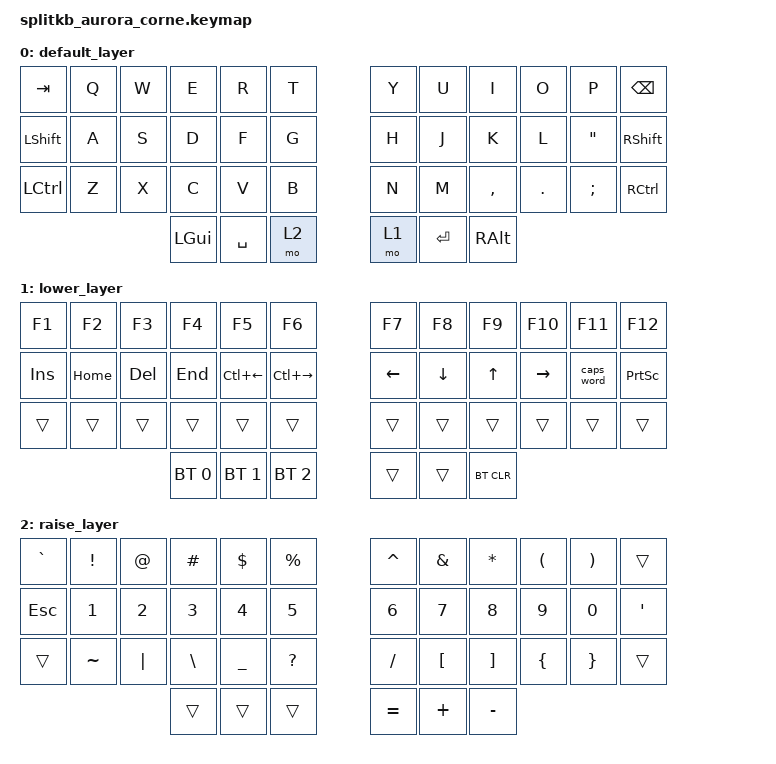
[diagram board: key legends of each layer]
#include <behaviors.dtsi>
#include <dt-bindings/zmk/keys.h>
#include <dt-bindings/zmk/bt.h>

/ {
    keymap {
        compatible = "zmk,keymap";
        default_layer {
			bindings = <
				// ┌─────────┬─────────┬─────────┬─────────┬─────────┬─────────┐    ┌─────────┬─────────┬─────────┬─────────┬─────────┬──────────┐
				// │   TAB   │    Q    │    W    │    E    │    R    │    T    │    │    Y    │    U    │    I    │    O    │    P    │   BSPC   │
    				&kp TAB   &kp Q     &kp W      &kp E     &kp R     &kp T         &kp Y     &kp U     &kp I     &kp O     &kp P    &kp BSPC
				// ├─────────┴─────────┴─────────┴─────────┴─────────┴─────────┤    ├─────────┴─────────┴─────────┴─────────┴─────────┴──────────┤
				// │  SHFT   │    A    │    S    │    D    │    F    │    G    │    │    H    │    J    │    K    │    L    │   "     │   SHFT   │
				    &kp LSHFT  &kp A     &kp S      &kp D     &kp F     &kp G          &kp H     &kp J     &kp K     &kp L    &kp DQT &kp RSHFT
				// ├─────────┴─────────┴─────────┴─────────┴─────────┴─────────┤    ├─────────┴─────────┴─────────┴─────────┴─────────┴──────────┤
				// │  CTRL   │    Z    │    X    │    C    │    V    │    B    │    │    N    │    M    │    ,    │    .    │   ;     │   CTRL   │
				    &kp LCTRL   &kp Z     &kp X     &kp C     &kp V     &kp B          &kp N     &kp M   &kp COMMA &kp DOT   &kp SEMI  &kp RCTRL
				// ├─────────┴─────────┴─────────┴─────────┴─────────┴─────────┤    ├─────────┴─────────┴─────────┴─────────┴─────────┴──────────┤
				//                               │   SUPER │   SPC   │   RSE   │    │   LWR   │   ENT   │  ALTGR  │
				                                  &kp LGUI  &kp SPACE   &mo 2          &mo 1    &kp RET   &kp RALT
				//                               └─────────┴─────────┴─────────┘    └─────────┴─────────┴─────────┘
        	>;
        };

		lower_layer {
			bindings = <
				// ┌─────────┬─────────┬─────────┬─────────┬─────────┬─────────┐    ┌─────────┬─────────┬─────────┬─────────┬─────────┬──────────┐
				// │    F1   │    F2   │    F3   │   F4    │    F5   │    F6   │    │    F7   │    F8   │    F9   │   F10   │   F11   │   F12    │
				    &kp F1     &kp F2    &kp F3    &kp F4    &kp F5    &kp F6        &kp F7    &kp F8    &kp F9    &kp F10    &kp F11    &kp F12
				// ├─────────┴─────────┴─────────┴─────────┴─────────┴─────────┤    ├─────────┴─────────┴─────────┴─────────┴─────────┴──────────┤
				// │   INS   │  HOME   │   DEL   │   END   │ WORD ←  │ WORD →  │    │  LEFT   │  DOWN   │   UP    │  RIGHT  │CAPSWORD │  PSCRN   │
				    &kp INS    &kp HOME  &kp DEL   &kp END   &kp LC(LEFT) &kp LC(RIGHT) &kp LEFT &kp DOWN &kp UP &kp RIGHT &caps_word &kp PSCRN
				// ├─────────┴─────────┴─────────┴─────────┴─────────┴─────────┤    ├─────────┴─────────┴─────────┴─────────┴─────────┴──────────┤
				// │         │         │         │         │         │         │    │         │         │         │         │         │          │
				    &trans     &trans    &trans    &trans    &trans    &trans        &trans &trans    &trans    &trans &trans  &trans
				// └─────────┴─────────┴─────────┬─────────┬─────────┬─────────┘    └─────────┬─────────┬─────────┬─────────┴─────────┴──────────┘
				//                               │   BT1   │   BT2   │   BT3   │    │         │         │  BTCLR  │
				                                  &bt BT_SEL 0 &bt BT_SEL 1 &bt BT_SEL 2  &trans   &trans   &bt BT_CLR
				//                               └─────────┴─────────┴─────────┘    └─────────┴─────────┴─────────┘
			>;
        };

		raise_layer {
			bindings = <
				// ┌─────────┬─────────┬─────────┬─────────┬─────────┬─────────┐    ┌─────────┬─────────┬─────────┬─────────┬─────────┬──────────┐
				// │    `    │    !    │    @    │    #    │    $    │    %    │    │    ^    │    &    │    *    │    (    │    )    │          │
				    &kp GRAVE  &kp EXCL  &kp AT    &kp HASH  &kp DLLR  &kp PRCNT      &kp CARET &kp AMPS  &kp ASTRK &kp LPAR  &kp RPAR  &trans
				// ├─────────┴─────────┴─────────┴─────────┴─────────┴─────────┤    ├─────────┴─────────┴─────────┴─────────┴─────────┴──────────┤
				// │   ESC   │    1    │    2    │    3    │    4    │    5    │    │    6    │    7    │    8    │    9    │    0    │    '     │
				    &kp ESC    &kp N1    &kp N2    &kp N3    &kp N4    &kp N5         &kp N6    &kp N7    &kp N8    &kp N9    &kp N0    &kp APOS
				// ├─────────┴─────────┴─────────┴─────────┴─────────┴─────────┤    ├─────────┴─────────┴─────────┴─────────┴─────────┴──────────┤
				// │         │    ~    │    |    │    \    │    _    │    ?    │    │    /    │    [    │    ]    │    {    │    }    │          │
				    &trans     &kp TILDE &kp PIPE  &kp BSLH  &kp UNDER &kp QMARK      &kp FSLH  &kp LBKT  &kp RBKT  &kp LBRC  &kp RBRC  &trans
				// └─────────┴─────────┴─────────┬─────────┬─────────┬─────────┘    └─────────┬─────────┬─────────┬─────────┴─────────┴──────────┘
				//                               │         │         │         │    │    =    │   +     │   -     │
				                                  &trans     &trans    &trans         &kp EQUAL &kp PLUS &kp MINUS
				//                               └─────────┴─────────┴─────────┘    └─────────┴─────────┴─────────┘
            >;
        };
    };
};
